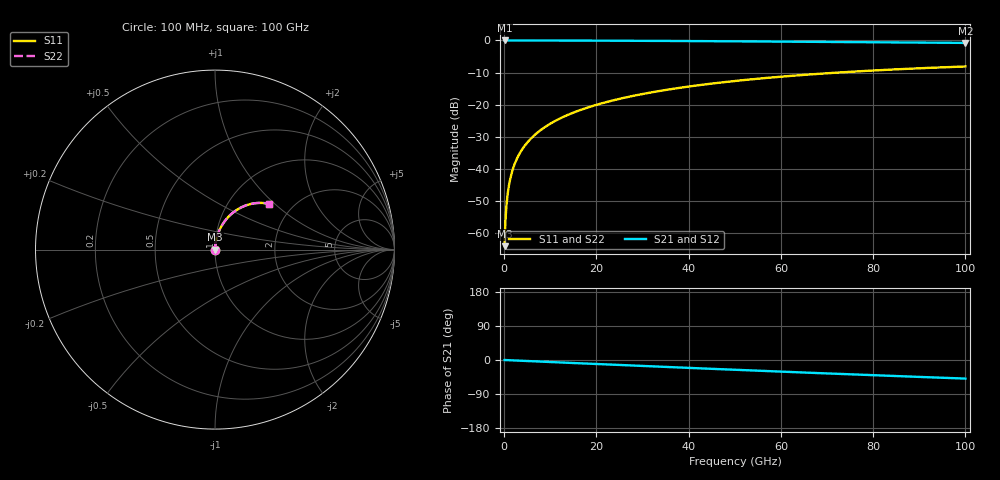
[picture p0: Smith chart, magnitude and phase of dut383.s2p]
! Touchstone file exported from HFSS 2026.1.0
!  File:  C:/ffzhzh/LocalFiles/Ansys_Project_Files/temp_train_TSV_383_1783510534_44152.aedt
!  Generated:  07:36:57 PM Jul  8, 2026
!  Design:  TSV
!  Project:  temp_train_TSV_383_1783510534_44152
! Variables:
!  h_bsmrdl = 2um
!  h_ox = 20um
!  h_rdl = 5um
!  h_sub = 83.13um
!  h_tmrdl = 5um
!  h_tsv = 83.13um
!  h_via = 3um
!  l_bsmrdl = 300um
!  l_sub = 411.74um
!  l_tmrdl = 200um
!  m_sub = 200um
!  pitch = 58.83um
!  r_tsv = 5.87um
!  s_tmrdl = 10um
!  w_bsmrdl = 18um
!  w_sub = 500um
!  w_tmrdl = 12um
!  x_tsv_center1 = 206um
!  x_tsv_center2 = 524um
!  x_tsv_center3 = 736um
!  x_tsv_center4 = 1054um
!  x_tsv_center5 = 1266um
!  x_tsv_center6 = 1584um
# GHz S MA R 50.000000
! Terminal data exported
! Port[1] = TSV1_1_T1
! Port[2] = TSV1_1_T2
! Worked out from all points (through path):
!   1000 points, 100 MHz to 100 GHz, reference 50 ohm
!   highest |S21| = 0.00 dB at 100 MHz (marker M1); lowest = -0.8 dB at 100 GHz (marker M2)
!   group delay of S21, straight-line fit = 1.37 ps
!   lowest |S11| = -64.1 dB at 100 MHz (marker M3), VSWR 1.00, Z = 50 + j0.0544 ohm
!   |S11| at or under -10 dB: start of sweep to 72.39 GHz
!   |S22| runs from -64.1 to -8.1 dB; largest |S21 - S12| = 4.2e-15
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0.1  0.0006244 60.5  0.9997 -0.1  0.9997 -0.1  0.0006244 60.5
! Gamma 0 0 0 0
! Port Impedance 50 0 50 0
0.3  0.001641 78.2  0.9997 -0.2  0.9997 -0.2  0.001641 78.2
0.7  0.003728 83.9  0.9996 -0.4  0.9996 -0.4  0.003728 83.9
0.8  0.00425 84.4  0.9996 -0.4  0.9996 -0.4  0.00425 84.4
1  0.005295 85.0  0.9996 -0.5  0.9996 -0.5  0.005295 85.0
1.3  0.006857 85.5  0.9995 -0.7  0.9995 -0.7  0.006857 85.5
1.7  0.008927 85.8  0.9994 -0.9  0.9994 -0.9  0.008927 85.8
2.3  0.012 85.8  0.9993 -1.2  0.9993 -1.2  0.012 85.8
3  0.01556 85.7  0.9992 -1.6  0.9992 -1.6  0.01556 85.7
3.8  0.01959 85.5  0.999 -2.0  0.999 -2.0  0.01959 85.5
4.8  0.02461 85.2  0.9988 -2.6  0.9988 -2.6  0.02461 85.2
6  0.0306 84.8  0.9985 -3.2  0.9985 -3.2  0.0306 84.8
8.8  0.04454 83.7  0.9977 -4.7  0.9977 -4.7  0.04454 83.7
12.4  0.06233 82.0  0.9965 -6.6  0.9965 -6.6  0.06233 82.0
16.8  0.08384 79.9  0.9947 -8.9  0.9947 -8.9  0.08384 79.9
24.2  0.1193 76.3  0.9908 -12.7  0.9908 -12.7  0.1193 76.3
33.4  0.162 71.7  0.9844 -17.5  0.9844 -17.5  0.162 71.7
41.2  0.1966 67.8  0.9778 -21.4  0.9778 -21.4  0.1966 67.8
50.1  0.234 63.5  0.9694 -25.8  0.9694 -25.8  0.234 63.5
66.7  0.2969 55.5  0.9517 -33.9  0.9517 -33.9  0.2969 55.5
83.4  0.3503 47.8  0.9332 -41.6  0.9332 -41.6  0.3503 47.8
100  0.3931 40.5  0.9158 -49.1  0.9158 -49.1  0.3931 40.5
